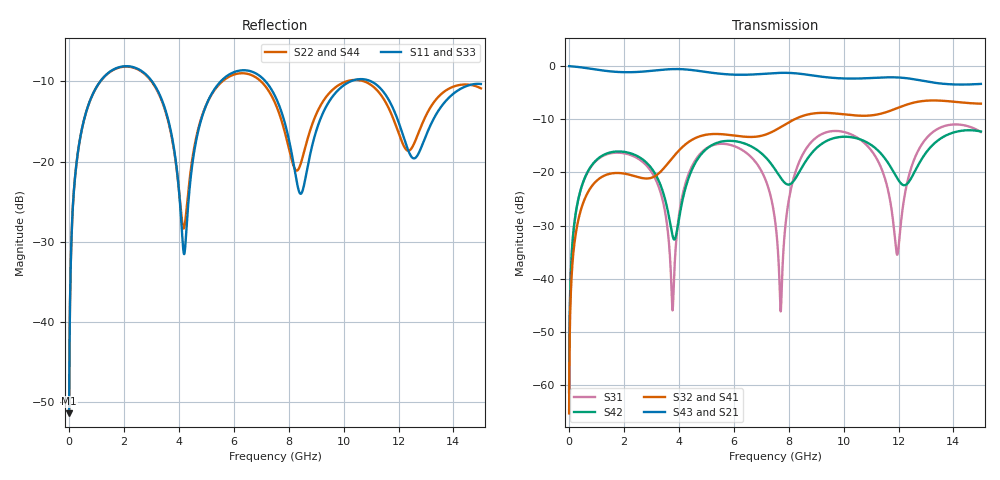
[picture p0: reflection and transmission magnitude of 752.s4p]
! Created with skrf 1.8.0 (http://scikit-rf.org).
# GHz S RI R 50.0
!freq ReS11 ImS11 ReS12 ImS12 ReS13 ImS13
! ReS14 ImS14
! ReS21 ImS21 ReS22 ImS22 ReS23 ImS23
! ReS24 ImS24
! ReS31 ImS31 ReS32 ImS32 ReS33 ImS33
! ReS34 ImS34
! ReS41 ImS41 ReS42 ImS42 ReS43 ImS43
! ReS44 ImS44
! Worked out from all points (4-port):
!   2499 points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, 5 MHz to 15 GHz, reference 50 ohm
!   strongest paths, dB at 5 MHz, 3.476 GHz, 7.19 GHz, 11.1 GHz, 15 GHz:
!     S43: 0.0, -0.7, -1.4, -2.2, -3.4
!     S21: 0.0, -0.7, -1.4, -2.2, -3.4
!     S32: -65.3, -19.1, -12.8, -9.2, -7.1
!     S41: -65.3, -19.1, -12.9, -9.3, -7.2
!     S42: -61.3, -24.6, -17.3, -15.2, -12.3
!     S31: -61.3, -26.7, -21.8, -16.5, -12.4
!   lowest |S11| = -51.4 dB at 5 MHz (marker M1), VSWR 1.01, Z = 50.2 + j0.163 ohm
!   |S11| at or under -10 dB: 3.026 GHz to 5.523 GHz (2.496 GHz wide, 58.4 % of centre); 7.162 GHz to 10.25 GHz (3.085 GHz wide, 35.4 % of centre); 11.01 GHz to end of sweep (the widest 3 of 4)
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0.005  0.00214 0.00162  0.9978 -0.00416  0.000109 0.000854  -0.000106 -0.000535
       0.9978 -0.00416  0.00214 0.00162  -0.000106 -0.000535  0.00011 0.000854
       0.000109 0.000854  -0.000106 -0.000535  0.00214 0.00162  0.9978 -0.00416
       -0.000106 -0.000535  0.00011 0.000854  0.9978 -0.00416  0.00214 0.00162
1.269279  0.2926 0.1672  0.5023 -0.7538  0.1315 0.0597  -0.0928 0.00136
          0.5023 -0.7538  0.2901 0.169  -0.093 0.00152  0.138 0.0498
          0.1315 0.0597  -0.093 0.00152  0.2925 0.1672  0.5023 -0.7538
          -0.0928 0.00136  0.138 0.0498  0.5023 -0.7538  0.2902 0.169
3.770321  0.063 -0.1214  -0.8628 -0.3638  0.00497 0.00093  -0.05 0.128
          -0.8628 -0.3638  0.0726 -0.1124  -0.0482 0.1288  -0.0218 -0.0135
          0.00497 0.00093  -0.0482 0.1288  0.0635 -0.1214  -0.8627 -0.364
          -0.05 0.128  -0.0218 -0.0135  -0.8627 -0.364  0.0721 -0.1128
4.239266  0.0279 0.012  -0.9301 -0.0208  0.0203 0.0757  0.000814 0.1835
          -0.9301 -0.0208  0.0401 0.0162  0.00329 0.1835  0.000611 0.0709
          0.0203 0.0757  0.00329 0.1835  0.0283 0.0114  -0.9301 -0.021
          0.000814 0.1835  0.000611 0.0709  -0.9301 -0.021  0.0395 0.016
7.709462  0.1431 -0.1552  0.6671 0.5477  0.00473 0.00147  0.1656 -0.209
          0.6671 0.5477  0.1467 -0.1166  0.1598 -0.2136  -0.0619 -0.0643
          0.00473 0.00147  0.1598 -0.2136  0.1422 -0.1542  0.6674 0.5477
          0.1656 -0.209  -0.0619 -0.0643  0.6674 0.5477  0.1452 -0.1163
10.95456  0.3113 -0.0712  -0.0514 -0.7681  0.1296 -0.1065  -0.3316 0.0764
          -0.0514 -0.7681  0.2952 -0.0743  -0.3309 0.0905  0.1146 -0.1453
          0.1296 -0.1065  -0.3309 0.0905  0.3053 -0.0657  -0.0516 -0.7694
          -0.3316 0.0764  0.1146 -0.1453  -0.0516 -0.7694  0.2929 -0.0794
15  0.298 -0.0652  -0.1257 0.6675  0.2143 -0.1084  0.4365 -0.00188
    -0.1257 0.6675  0.2758 -0.0777  0.4427 -0.0262  0.1901 -0.1512
    0.2143 -0.1084  0.4427 -0.0262  0.2884 -0.0507  -0.1262 0.6678
    0.4365 -0.00188  0.1901 -0.1512  -0.1262 0.6678  0.2811 -0.092
